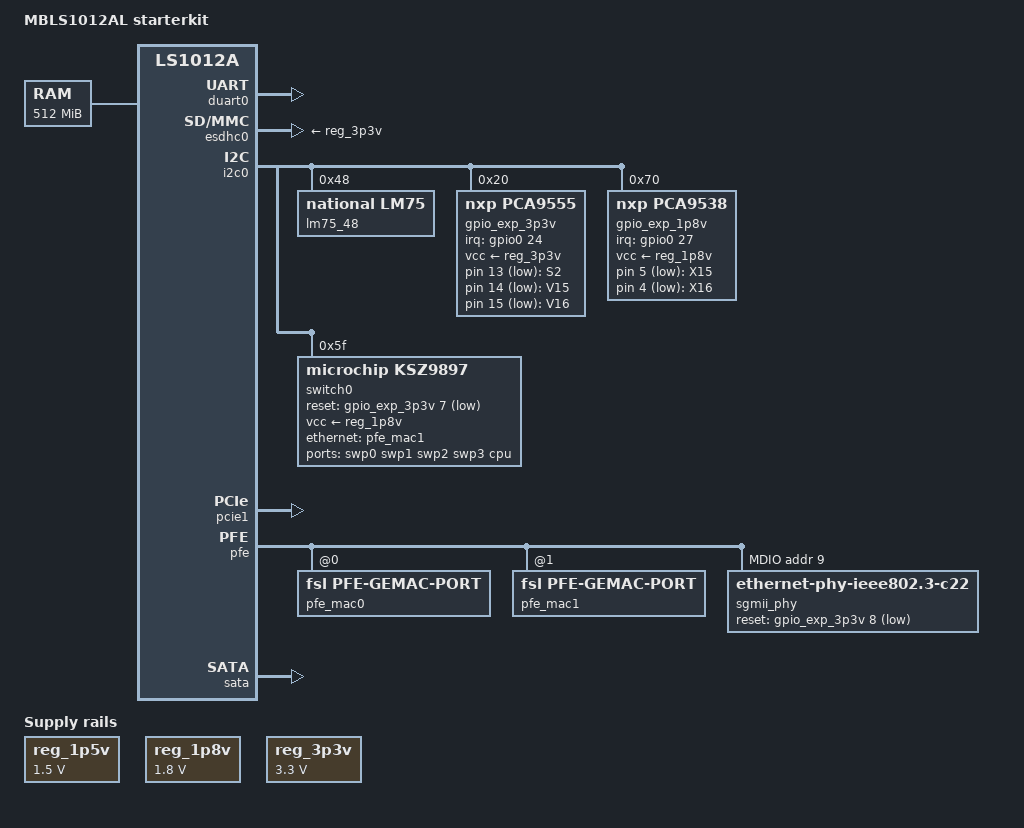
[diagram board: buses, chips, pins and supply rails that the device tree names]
// SPDX-License-Identifier: (GPL-2.0+ OR MIT)
/*
 * Device Tree file for TQ LS1012A MBLS1012AL Board.
 *
 * Copyright 2018-2020 TQ-Systems GmbH
 *
 * Authors: Max Merchel <Max.Merchel@tq-group.com>
 *          Matthias Schiffer <matthias.schiffer@tq-group.com>
 */

/dts-v1/;

#include "fsl-ls1012a-tqmls1012al.dtsi"
#include <dt-bindings/gpio/gpio.h>
#include <dt-bindings/input/input.h>
#include <dt-bindings/net/ti-dp83867.h>

/ {
	model = "MBLS1012AL starterkit";
	compatible = "tq,ls1012a-mbls1012al", "tq,ls1012a-tqmls1012al", "fsl,ls1012a";

	aliases {
		serial0 = &duart0;
		/* use MAC from U-Boot environment */
		ethernet0 = &pfe_mac0;
		ethernet1 = &pfe_mac1;
		ethernet2 = &swport0;
		ethernet3 = &swport1;
		ethernet4 = &swport2;
		ethernet5 = &swport3;
	};

	chosen {
		linux,stdout-path = &duart0;
		stdout-path = &duart0;
	};

	keys {
		compatible = "gpio-keys";
		status = "okay";

		s2 {
			label = "S2";
			linux,code = <BTN_0>;
			gpios = <&gpio_exp_3p3v 13 GPIO_ACTIVE_LOW>;
		};

		x15 {
			label = "X15";
			linux,code = <BTN_1>;
			gpios = <&gpio_exp_1p8v 5 GPIO_ACTIVE_LOW>;
		};

		x16 {
			label = "X16";
			linux,code = <BTN_2>;
			gpios = <&gpio_exp_1p8v 4 GPIO_ACTIVE_LOW>;
		};
	};

	leds {
		compatible = "gpio-leds";
		status = "okay";

		v15 {
			label = "V15";
			gpios = <&gpio_exp_3p3v 14 GPIO_ACTIVE_LOW>;
			linux,default-trigger = "heartbeat";
		};

		v16 {
			label = "V16";
			gpios = <&gpio_exp_3p3v 15 GPIO_ACTIVE_LOW>;
			default-state = "on";
		};
	};

	memory@80000000 {
		device_type = "memory";
		/*  our minimum RAM config will be 512 MiB */
		reg = <0x00000000 0x80000000 0 0x20000000>;
	};

	reserved-memory {
		#address-cells = <2>;
		#size-cells = <2>;
		ranges;

		/* global autoconfigured region for contiguous allocations */
		linux,cma {
			compatible = "shared-dma-pool";
			reusable;
			/* 64 MiB */
			size = <0 0x04000000>;
			/*  256 - 128 MiB, our minimum RAM config will be 256 MiB */
			alloc-ranges = <0 0x80000000 0 0x88000000>;
			linux,cma-default;
		};
	};

	reg_1p5v: regulator-1p5v {
		compatible = "regulator-fixed";
		regulator-name = "1P5V";
		regulator-min-microvolt = <1500000>;
		regulator-max-microvolt = <1500000>;
		regulator-always-on;
	};

	reg_1p8v: regulator-1p8v {
		compatible = "regulator-fixed";
		regulator-name = "1P8V";
		regulator-min-microvolt = <1800000>;
		regulator-max-microvolt = <1800000>;
		regulator-always-on;
	};

	reg_3p3v: regulator-3p3v {
		compatible = "regulator-fixed";
		regulator-name = "3P3V";
		regulator-min-microvolt = <3300000>;
		regulator-max-microvolt = <3300000>;
		regulator-always-on;
	};
};

&duart0 {
	status = "okay";
};

&esdhc0 {
	vmmc-supply = <&reg_3p3v>;
	no-mmc;
	disable-wp;
	sd-uhs-sdr104;
	sd-uhs-sdr50;
	sd-uhs-sdr25;
	sd-uhs-sdr12;
	status = "okay";
};

&i2c0 {
	lm75_48: temperature-sensor@48 {
		compatible = "national,lm75";
		reg = <0x48>;
	};

	gpio_exp_3p3v: gpio-expander@20 {
		compatible = "nxp,pca9555";
		reg = <0x20>;
		gpio-controller;
		#gpio-cells = <2>;
		vcc-supply = <&reg_3p3v>;
		interrupt-parent = <&gpio0>;
		interrupts = <24 IRQ_TYPE_EDGE_FALLING>;

		wlan_disable {
			gpio-hog;
			gpios = <0 GPIO_ACTIVE_HIGH>;
			output-high;
			line-name = "WLAN_DISABLE#";
		};

		vcc_pcie_en_3v3 {
			gpio-hog;
			gpios = <1 GPIO_ACTIVE_HIGH>;
			output-high;
			line-name = "VCC_PCIE_EN_3V3";
		};

		vcc_wlan_en_3v3 {
			gpio-hog;
			gpios = <3 GPIO_ACTIVE_HIGH>;
			output-high;
			line-name = "VCC_WLAN_EN_3V3";
		};

		pcie_rst {
			gpio-hog;
			gpios = <4 GPIO_ACTIVE_HIGH>;
			output-high;
			line-name = "PCIE_RST#";
		};

		wlan_rst {
			gpio-hog;
			gpios = <5 GPIO_ACTIVE_HIGH>;
			output-high;
			line-name = "WLAN_RST#";
		};

		usb_rst {
			gpio-hog;
			gpios = <6 GPIO_ACTIVE_HIGH>;
			output-high;
			line-name = "USB_RST#";
		};

		pcie_dis {
			gpio-hog;
			gpios = <11 GPIO_ACTIVE_HIGH>;
			output-high;
			line-name = "PCIE_DIS#";
		};

		pcie_wake {
			gpio-hog;
			gpios = <12 GPIO_ACTIVE_HIGH>;
			input;
			line-name = "PCIE_WAKE#";
		};
	};

	gpio_exp_1p8v: gpio-expander@70 {
		compatible = "nxp,pca9538";
		reg = <0x70>;
		gpio-controller;
		#gpio-cells = <2>;
		vcc-supply = <&reg_1p8v>;
		interrupt-parent = <&gpio0>;
		interrupts = <27 IRQ_TYPE_EDGE_FALLING>;

		/* do not change PCIE_CLK_PD */
		pcie_clk_pd {
			gpio-hog;
			gpios = <0 GPIO_ACTIVE_HIGH>;
			output-high;
			line-name = "PCIE_CLK_PD#";
		};

		pmic_int {
			gpio-hog;
			gpios = <1 GPIO_ACTIVE_HIGH>;
			input;
			line-name = "PMIC_INT#";
		};

		eth_sw_int {
			gpio-hog;
			gpios = <2 GPIO_ACTIVE_HIGH>;
			input;
			line-name = "ETH_SW_INT#";
		};

		eth_link_pwrdwn {
			gpio-hog;
			gpios = <3 GPIO_ACTIVE_HIGH>;
			output-high;
			line-name = "ETH_LINK_PWRDWN#";
		};

		vcc_wlan_en_1v5 {
			gpio-hog;
			gpios = <6 GPIO_ACTIVE_HIGH>;
			output-high;
			line-name = "VCC_WLAN_EN_1V5";
		};

		vcc_pcie_en_1v5 {
			gpio-hog;
			gpios = <7 GPIO_ACTIVE_HIGH>;
			output-high;
			line-name = "VCC_PCIE_EN_1V5";
		};
	};

	switch0: ethernet-switch@5f {
		compatible = "microchip,ksz9897";
		reg = <0x5f>;
		vcc-supply = <&reg_1p8v>;
		reset-gpios = <&gpio_exp_3p3v 7 GPIO_ACTIVE_LOW>;
		phy-mode = "rgmii-id";

		ports {
			#address-cells = <1>;
			#size-cells = <0>;

			swport0: port@0 {
				reg = <0>;
				label = "swp0";
			};

			swport1: port@1 {
				reg = <1>;
				label = "swp1";
			};

			swport2: port@2 {
				reg = <2>;
				label = "swp2";
			};

			swport3: port@3 {
				reg = <3>;
				label = "swp3";
			};

			port@6 {
				reg = <6>;
				label = "cpu";
				ethernet = <&pfe_mac1>;

				fixed-link {
					speed = <1000>;
					full-duplex;
				};
			};
		};
	};
};

&pcie1 {
	status = "okay";
};

&pfe {
	#address-cells = <1>;
	#size-cells = <0>;
	status = "okay";

	pfe_mac0: ethernet@0 {
		compatible = "fsl,pfe-gemac-port";
		reg = <0x0>;
		fsl,mdio-mux-val = <0x0>;
		phy-mode = "sgmii";
		phy-handle = <&sgmii_phy>;
	};

	pfe_mac1: ethernet@1 {
		compatible = "fsl,pfe-gemac-port";
		reg = <0x1>;
		fsl,mdio-mux-val = <0x0>;
		phy-mode = "rgmii-id";

		fixed-link {
			speed = <1000>;
			full-duplex;
		};
	};

	mdio@0 {
		#address-cells = <1>;
		#size-cells = <0>;

		sgmii_phy: ethernet-phy@9 {
			compatible = "ethernet-phy-ieee802.3-c22";
			reg = <0x9>;
			reset-names = "phy";
			reset-gpios = <&gpio_exp_3p3v 8 GPIO_ACTIVE_LOW>;
			reset-assert-us = <1>;
			reset-deassert-us = <200>;
			ti,led-function = <0x050b>;
			ti,led-ctrl = <0x1414>;
			ti,clk-output-sel = <DP83867_CLK_O_SEL_OFF>;
			ti,fifo-depth = <DP83867_PHYCR_FIFO_DEPTH_4_B_NIB>;
		};
	};
};

&sata {
	status = "okay";
};
